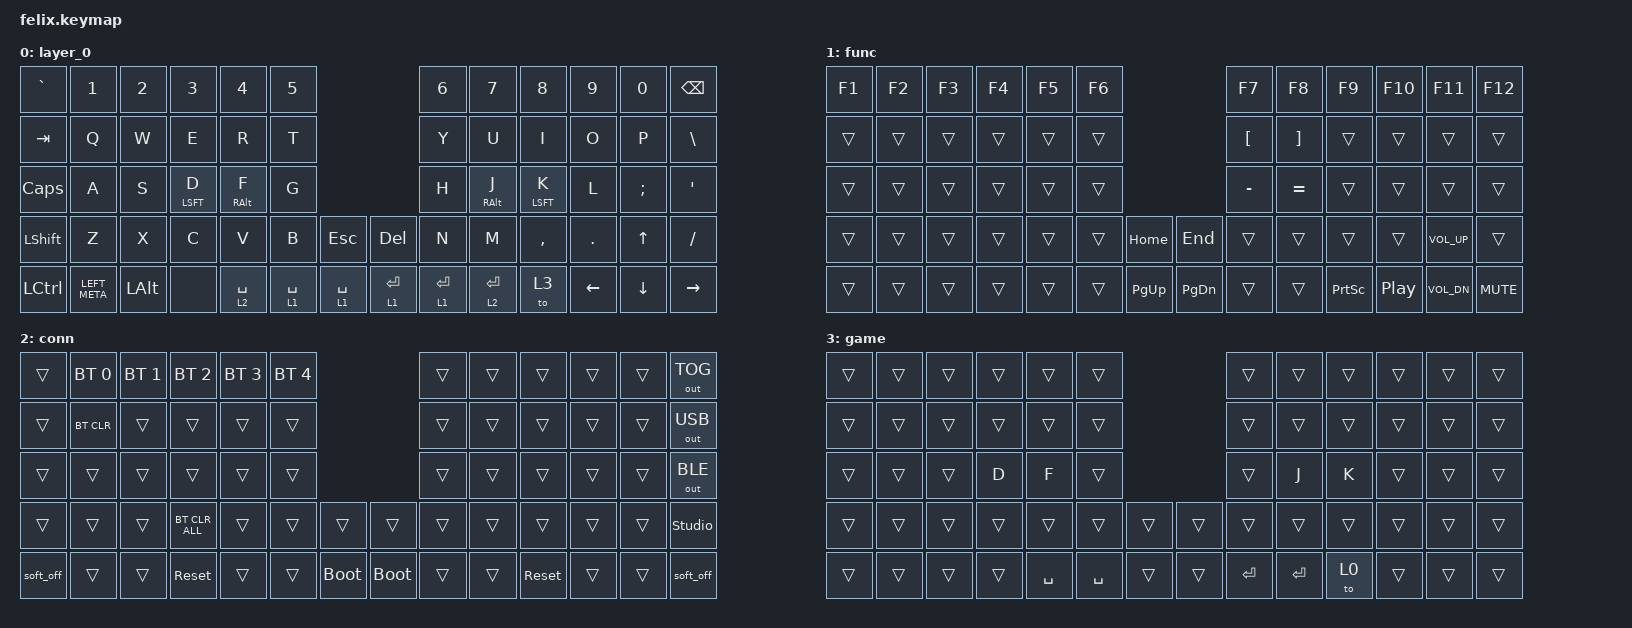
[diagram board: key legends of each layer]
/*
 * Copyright (c) 2020 The ZMK Contributors
 *
 * SPDX-License-Identifier: MIT
 */

#include <behaviors.dtsi>
#include <dt-bindings/zmk/bt.h>
#include <dt-bindings/zmk/keys.h>
#include <dt-bindings/zmk/outputs.h>
#include <dt-bindings/zmk/reset.h>
#include <dt-bindings/zmk/ext_power.h>

#define BASE 0
#define FUNC 1
#define CONN 2
#define GAME 3

/* NOTE: At the time of the creation of this keymap, there are no specified codes for 'eisuu' and 'kana' input in ZMK.
However, 'LANG1' and 'LANG2' are fully-functioning candidates for 'kana' and 'eisuu' input respectively.
As such, those are in use within the default layer at this time.*/

/ {
    behaviors {
        tpmt: tpmt {
            compatible = "zmk,behavior-hold-tap";
            label = "TPMT";
            bindings = <&kp>, <&kp>;

            #binding-cells = <2>;
            tapping-term-ms = <200>;
            quick-tap-ms = <125>;
            require-prior-idle-ms = <150>;
            flavor = "tap-preferred";
        };
    };

    keymap {
        compatible = "zmk,keymap";

        layer_0 {

            bindings = <
&kp GRAVE   &kp N1         &kp N2           &kp N3          &kp N4          &kp N5                                              &kp N6          &kp N7          &kp N8              &kp N9      &kp N0          &kp BACKSPACE
&kp TAB     &kp Q          &kp W            &kp E           &kp R           &kp T                                               &kp Y           &kp U           &kp I               &kp O       &kp P           &kp BSLH
&kp CAPS    &kp A          &kp S            &tpmt LSFT D    &tpmt RALT F    &kp G                                               &kp H           &tpmt RALT J    &tpmt LSFT K        &kp L       &kp SEMICOLON   &kp APOS
&kp LSHFT   &kp Z          &kp X            &kp C           &kp V           &kp B           &kp ESC             &kp DELETE      &kp N           &kp M           &kp COMMA           &kp PERIOD  &kp UP          &kp FSLH
&kp LCTRL   &kp LEFT_META  &kp LALT         &none           &lt 2 SPACE     &lt 1 SPACE     &lt 1 SPACE         &lt 1 ENTER     &lt 1 ENTER     &lt 2 ENTER     &to 3               &kp LEFT    &kp DOWN        &kp RIGHT
            >;
        };

        layer_1 {

            bindings = <
&kp F1      &kp F2          &kp F3          &kp F4          &kp F5          &kp F6                                              &kp F7          &kp F8          &kp F9              &kp F10     &kp F11         &kp F12
&trans      &trans          &trans          &trans          &trans          &trans                                              &kp LBKT        &kp RBKT        &trans              &trans      &trans          &trans
&trans      &trans          &trans          &trans          &trans          &trans                                              &kp MINUS       &kp EQUAL       &trans              &trans      &trans          &trans
&trans      &trans          &trans          &trans          &trans          &trans          &kp HOME            &kp END         &trans          &trans          &trans              &trans      &kp C_VOL_UP    &trans
&trans      &trans          &trans          &trans          &trans          &trans          &kp PG_UP           &kp PG_DN       &trans          &trans          &kp PRINTSCREEN     &kp C_PP    &kp C_VOL_DN    &kp C_MUTE
            >;

            label = "func";
        };

        layer_2 {

            bindings = <
&trans      &bt BT_SEL 0    &bt BT_SEL 1    &bt BT_SEL 2    &bt BT_SEL 3    &bt BT_SEL 4                                        &trans          &trans          &trans              &trans      &trans          &out OUT_TOG
&trans      &bt BT_CLR      &trans          &trans          &trans          &trans                                              &trans          &trans          &trans              &trans      &trans          &out OUT_USB
&trans      &trans          &trans          &trans          &trans          &trans                                              &trans          &trans          &trans              &trans      &trans          &out OUT_BLE
&trans      &trans          &trans          &bt BT_CLR_ALL  &trans          &trans          &trans              &trans          &trans          &trans          &trans              &trans      &trans          &studio_unlock
&soft_off   &trans          &trans          &sys_reset      &trans          &trans          &bootloader         &bootloader     &trans          &trans          &sys_reset          &trans      &trans          &soft_off
            >;

            label = "conn";
        };

        layer_3 {

            bindings = <
&trans      &trans          &trans          &trans          &trans          &trans                                              &trans          &trans          &trans              &trans      &trans              &trans
&trans      &trans          &trans          &trans          &trans          &trans                                              &trans          &trans          &trans              &trans      &trans              &trans
&trans      &trans          &trans          &kp D           &kp F           &trans                                              &trans          &kp J           &kp K               &trans      &trans              &trans
&trans      &trans          &trans          &trans          &trans          &trans          &trans              &trans          &trans          &trans          &trans              &trans      &trans              &trans
&trans      &trans          &trans          &trans          &kp SPACE       &kp SPACE       &trans              &trans          &kp ENTER       &kp ENTER       &to 0               &trans      &trans              &trans
            >;

            label = "game";
        };

    };
};
